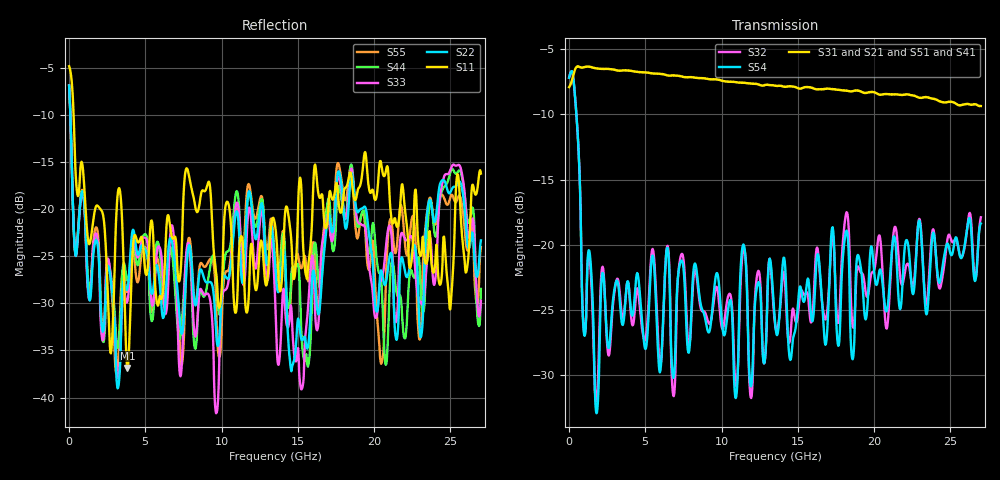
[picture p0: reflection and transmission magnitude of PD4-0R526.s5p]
! MARKI MICROWAVE INC.
! Email:  info@markimicrowave.com  Phone:  408-778-4200
! Model Number:  PD4-0R526  Date:  06/13
! Filename:		PD4_0R526.S5P  Version: 1.0
! Description:  5-port S-parameter data for 4 Way Power Divider PD4-0R526
! Frequency Range: 	10 MHz to 27 GHz
! Port Configuration:	PORT 1: COMMON
!  PORT 2: Output 1
!  Port 3: Output 2
!  Port 4: Output 3
!  Port 5: Output 4
! S5P File: Measurements: Mag<S11> Ang<S11> Mag<S12> Ang<S12> Mag<S13> Ang<S13> Mag<S14> Ang<S14> ! row 1
!  Mag<S15> Ang<S15>
!  Mag<S21> Ang<S21> Mag<S22> Ang<S22> Mag<S23> Ang<S23> Mag<S24> Ang<S24> ! row 2
!  Mag<S25> Ang<S25>
!  Mag<S31> Ang<S31> Mag<S32> Ang<S32> Mag<S33> Ang<S33> Mag<S34> Ang<S34> ! row 3
!  Mag<S35> Ang<S35>
!  Mag<S41> Ang<S41> Mag<S42> Ang<S42> Mag<S43> Ang<S43> Mag<S44> Ang<S44> ! row 4
!  Mag<S45> Ang<S45>
!  Mag<S51> Ang<S51> Mag<S52> Ang<S52> Mag<S53> Ang<S53> Mag<S54> Ang<S54> ! row 5
!  Mag<S55> Ang<S55>
# GHz S DB R 50
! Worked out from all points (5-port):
!   800 points, 10 MHz to 27 GHz, reference 50 ohm
!   strongest paths, dB at 10 MHz, 6.77 GHz, 13.53 GHz, 20.29 GHz, 27 GHz:
!     S31: -7.9, -7.0, -7.8, -8.5, -9.4
!     S21: -7.9, -7.0, -7.8, -8.5, -9.3
!     S51: -7.9, -7.0, -7.8, -8.3, -9.2
!     S41: -7.9, -7.0, -7.8, -8.4, -9.2
!     S54: -7.2, -29.7, -26.2, -22.4, -18.4
!     S32: -7.2, -30.8, -26.3, -19.4, -17.9
!   lowest |S11| = -36.9 dB at 3.829 GHz (marker M1), VSWR 1.03, Z = 48.6 - j0.28 ohm
!   |S11| at or under -10 dB: 302.5 MHz to end of sweep
